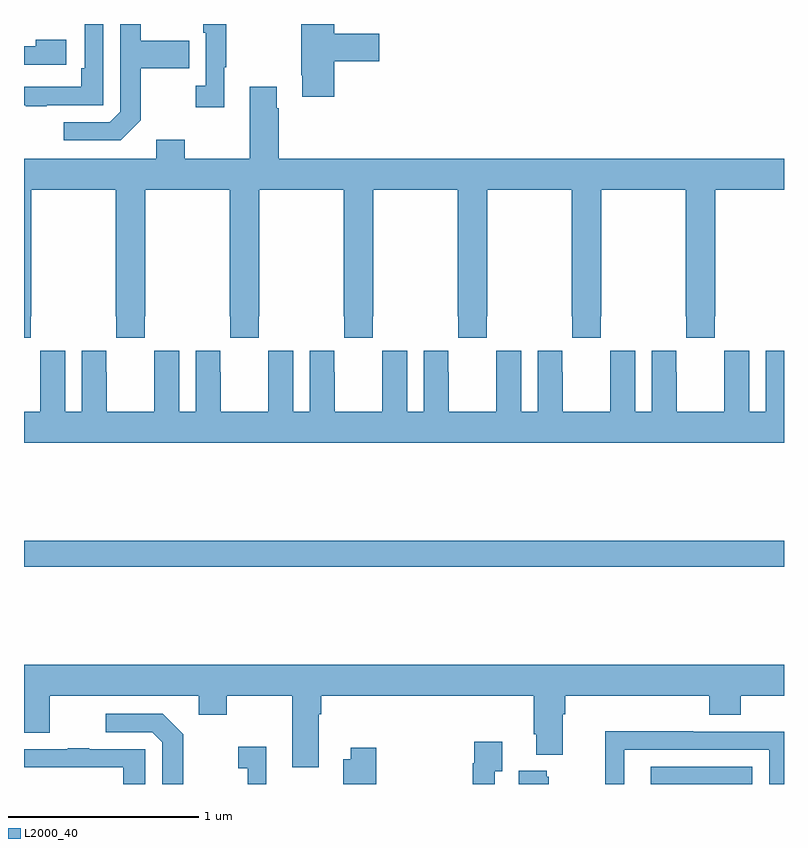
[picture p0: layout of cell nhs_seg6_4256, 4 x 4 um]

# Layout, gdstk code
import gdstk
lib = gdstk.Library(unit=1e-6, precision=1e-09)
def R(c, l, rs):  # rectangles x0, y0, x1, y1
    for r in rs: c.add(gdstk.rectangle(r[:2], r[2:], *l))
def P(c, l, *ps):  # polygons
    for p in ps: c.add(gdstk.Polygon(p, *l))
L2000_40 = (2000, 40)

nhs_seg6_4256 = lib.new_cell('nhs_seg6_4256')
R(nhs_seg6_4256, L2000_40, [(364.299,985.5,364.833,985.59), (361,986.644,365,986.78)])
P(nhs_seg6_4256, L2000_40, [(361.615,988.993),(361.615,989.266),(361.871,989.266),(361.871,989.413),(361.615,989.413),(361.615,989.5),(361.506,989.5),(361.506,989.037),(361.452,988.983),(361.209,988.983),(361.209,988.887),(361.509,988.887)],
  [(362.633,989.303),(362.869,989.303),(362.869,989.45),(362.633,989.45),(362.633,989.5),(362.458,989.5),(362.458,989.23),(362.465,989.23),(362.465,989.118),(362.633,989.118)],
  [(361.121,989.073),(361.416,989.073),(361.416,989.5),(361.32,989.5),(361.32,989.266),(361.3,989.266),(361.3,989.169),(361,989.169),(361,989.073),(361.009,989.073),(361.009,989.068),(361.121,989.068)],
  [(362.053,989.273),(362.065,989.273),(362.065,989.5),(361.944,989.5),(361.944,989.453),(361.956,989.453),(361.956,989.174),(361.905,989.174),(361.905,989.061),(362.053,989.061)],
  [(361.222,989.416),(361.061,989.416),(361.061,989.382),(361,989.382),(361,989.286),(361.222,989.286)],
  [(362.342,989.057),(362.329,989.057),(362.329,989.17),(362.189,989.17),(362.189,988.792),(361.845,988.792),(361.845,988.891),(361.697,988.891),(361.697,988.792),(361,988.792),(361,987.849),(361.035,987.849),(361.035,987.961),(361.038,987.961),(361.038,988.628),(361.483,988.628),(361.483,987.961),(361.485,987.961),(361.485,987.849),(361.635,987.849),(361.635,987.961),(361.638,987.961),(361.638,988.628),(362.083,988.628),(362.083,987.961),(362.085,987.961),(362.085,987.849),(362.235,987.849),(362.235,987.961),(362.238,987.961),(362.238,988.628),(362.683,988.628),(362.683,987.961),(362.685,987.961),(362.685,987.849),(362.835,987.849),(362.835,987.961),(362.838,987.961),(362.838,988.628),(363.283,988.628),(363.283,987.961),(363.285,987.961),(363.285,987.849),(363.435,987.849),(363.435,987.961),(363.438,987.961),(363.438,988.628),(363.883,988.628),(363.883,987.961),(363.885,987.961),(363.885,987.849),(364.035,987.849),(364.035,987.961),(364.038,987.961),(364.038,988.628),(364.483,988.628),(364.483,987.961),(364.485,987.961),(364.485,987.849),(364.635,987.849),(364.635,987.961),(364.638,987.961),(364.638,988.628),(365,988.628),(365,988.792),(362.342,988.792)],
  [(365,987.781),(364.904,987.781),(364.904,987.46),(364.816,987.46),(364.816,987.781),(364.686,987.781),(364.686,987.668),(364.685,987.668),(364.685,987.46),(364.435,987.46),(364.435,987.668),(364.434,987.668),(364.434,987.781),(364.304,987.781),(364.304,987.46),(364.216,987.46),(364.216,987.781),(364.086,987.781),(364.086,987.668),(364.085,987.668),(364.085,987.46),(363.835,987.46),(363.835,987.668),(363.834,987.668),(363.834,987.781),(363.704,987.781),(363.704,987.46),(363.616,987.46),(363.616,987.781),(363.486,987.781),(363.486,987.668),(363.485,987.668),(363.485,987.46),(363.235,987.46),(363.235,987.668),(363.234,987.668),(363.234,987.781),(363.104,987.781),(363.104,987.46),(363.016,987.46),(363.016,987.781),(362.886,987.781),(362.886,987.668),(362.885,987.668),(362.885,987.46),(362.635,987.46),(362.635,987.668),(362.634,987.668),(362.634,987.781),(362.504,987.781),(362.504,987.46),(362.416,987.46),(362.416,987.781),(362.286,987.781),(362.286,987.668),(362.285,987.668),(362.285,987.46),(362.035,987.46),(362.035,987.668),(362.034,987.668),(362.034,987.781),(361.904,987.781),(361.904,987.46),(361.816,987.46),(361.816,987.781),(361.686,987.781),(361.686,987.668),(361.685,987.668),(361.685,987.46),(361.435,987.46),(361.435,987.668),(361.434,987.668),(361.434,987.781),(361.304,987.781),(361.304,987.46),(361.216,987.46),(361.216,987.781),(361.086,987.781),(361.086,987.668),(361.085,987.668),(361.085,987.46),(361,987.46),(361,987.296),(365,987.296)],
  [(362.551,985.868),(362.564,985.868),(362.564,985.964),(363.683,985.964),(363.683,985.762),(363.695,985.762),(363.695,985.655),(363.835,985.655),(363.835,985.868),(363.848,985.868),(363.848,985.964),(364.607,985.964),(364.607,985.865),(364.772,985.865),(364.772,985.964),(365,985.964),(365,986.128),(361,986.128),(361,985.77),(361.135,985.77),(361.135,985.964),(361.919,985.964),(361.919,985.865),(362.067,985.865),(362.067,985.964),(362.411,985.964),(362.411,985.587),(362.551,985.587)],
  [(361.837,985.763),(361.731,985.869),(361.431,985.869),(361.431,985.773),(361.674,985.773),(361.728,985.719),(361.728,985.5),(361.837,985.5)],
  [(364.158,985.68),(364.923,985.68),(364.923,985.5),(365,985.5),(365,985.776),(364.523,985.776),(364.523,985.778),(364.06,985.778),(364.06,985.5),(364.158,985.5)],
  [(363.477,985.567),(363.517,985.567),(363.517,985.723),(363.369,985.723),(363.369,985.61),(363.361,985.61),(363.361,985.5),(363.477,985.5)],
  [(362.275,985.696),(362.127,985.696),(362.127,985.583),(362.178,985.583),(362.178,985.5),(362.275,985.5)],
  [(362.855,985.69),(362.72,985.69),(362.72,985.63),(362.68,985.63),(362.68,985.5),(362.855,985.5)],
  [(361.638,985.683),(361.343,985.683),(361.343,985.688),(361.231,985.688),(361.231,985.683),(361,985.683),(361,985.587),(361.522,985.587),(361.522,985.5),(361.638,985.5)],
  [(363.763,985.539),(363.752,985.539),(363.752,985.57),(363.605,985.57),(363.605,985.5),(363.763,985.5)])

lib.write_gds('nhs_seg6_4256.gds')
